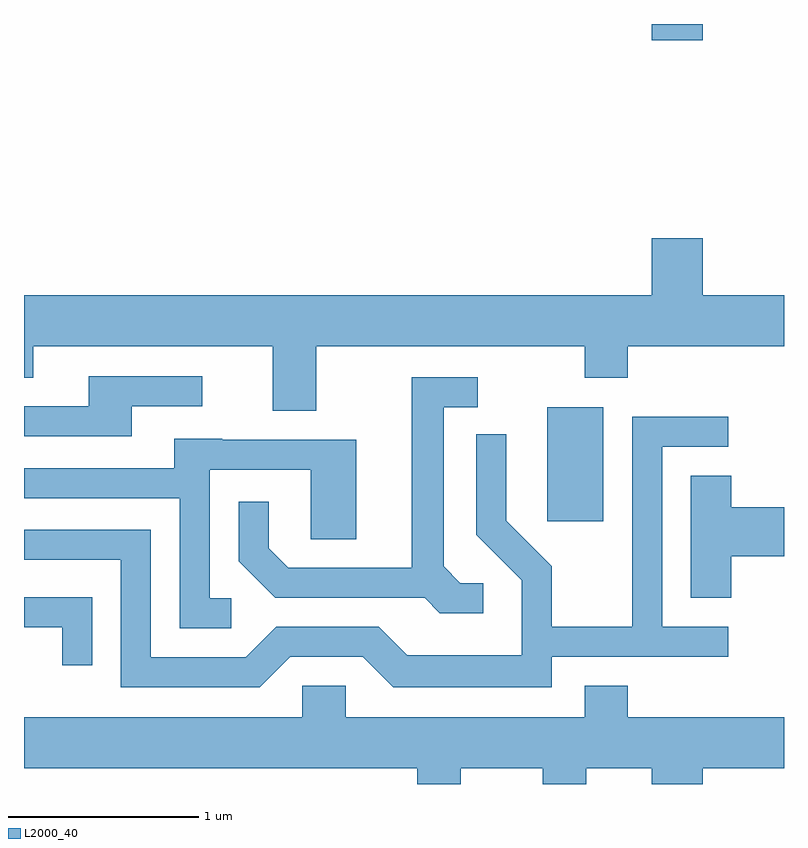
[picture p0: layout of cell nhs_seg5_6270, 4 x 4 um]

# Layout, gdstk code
import gdstk
lib = gdstk.Library(unit=1e-6, precision=1e-09)
def R(c, l, rs):  # rectangles x0, y0, x1, y1
    for r in rs: c.add(gdstk.rectangle(r[:2], r[2:], *l))
def P(c, l, *ps):  # polygons
    for p in ps: c.add(gdstk.Polygon(p, *l))
L2000_40 = (2000, 40)

nhs_seg5_6270 = lib.new_cell('nhs_seg5_6270')
R(nhs_seg5_6270, L2000_40, [(374.366,1431.456,374.659,1432.054), (374.916,1433.986,375.184,1434.072)])
P(nhs_seg5_6270, L2000_40, [(373.149,1432.376),(374.561,1432.376),(374.561,1432.211),(374.789,1432.211),(374.789,1432.376),(375.611,1432.376),(375.611,1432.644),(375.184,1432.644),(375.184,1432.944),(374.916,1432.944),(374.916,1432.644),(371.611,1432.644),(371.611,1432.211),(371.659,1432.211),(371.659,1432.376),(372.921,1432.376),(372.921,1432.036),(373.149,1432.036)],
  [(372.179,1432.061),(372.548,1432.061),(372.548,1432.219),(371.951,1432.219),(371.951,1432.059),(371.611,1432.059),(371.611,1431.901),(372.179,1431.901)],
  [(374.028,1431.129),(373.907,1431.129),(373.819,1431.217),(373.819,1432.056),(373.998,1432.056),(373.998,1432.214),(373.651,1432.214),(373.651,1431.209),(373.002,1431.209),(372.899,1431.312),(372.899,1431.558),(372.741,1431.558),(372.741,1431.244),(372.934,1431.051),(373.719,1431.051),(373.799,1430.971),(374.028,1430.971)],
  [(373.012,1430.741),(373.394,1430.741),(373.554,1430.581),(374.389,1430.581),(374.389,1430.741),(375.318,1430.741),(375.318,1430.899),(374.969,1430.899),(374.969,1431.846),(375.318,1431.846),(375.318,1432.004),(374.811,1432.004),(374.811,1430.899),(374.389,1430.899),(374.389,1431.217),(374.149,1431.457),(374.149,1431.913),(373.991,1431.913),(373.991,1431.384),(374.231,1431.144),(374.231,1430.749),(373.627,1430.749),(373.477,1430.899),(372.939,1430.899),(372.779,1430.739),(372.279,1430.739),(372.279,1431.409),(371.611,1431.409),(371.611,1431.251),(372.121,1431.251),(372.121,1430.581),(372.852,1430.581)],
  [(372.703,1431.049),(372.589,1431.049),(372.589,1431.726),(373.121,1431.726),(373.121,1431.361),(373.359,1431.361),(373.359,1431.884),(372.655,1431.884),(372.655,1431.889),(372.401,1431.889),(372.401,1431.734),(371.611,1431.734),(371.611,1431.576),(372.431,1431.576),(372.431,1430.891),(372.703,1430.891)],
  [(375.334,1431.271),(375.611,1431.271),(375.611,1431.529),(375.334,1431.529),(375.334,1431.694),(375.121,1431.694),(375.121,1431.051),(375.334,1431.051)],
  [(371.969,1431.054),(371.611,1431.054),(371.611,1430.896),(371.811,1430.896),(371.811,1430.698),(371.969,1430.698)],
  [(373.909,1430.156),(374.341,1430.156),(374.341,1430.072),(374.569,1430.072),(374.569,1430.156),(374.916,1430.156),(374.916,1430.072),(375.184,1430.072),(375.184,1430.156),(375.611,1430.156),(375.611,1430.424),(374.789,1430.424),(374.789,1430.589),(374.561,1430.589),(374.561,1430.424),(373.304,1430.424),(373.304,1430.589),(373.076,1430.589),(373.076,1430.424),(371.611,1430.424),(371.611,1430.156),(373.681,1430.156),(373.681,1430.072),(373.909,1430.072)])

lib.write_gds('nhs_seg5_6270.gds')
